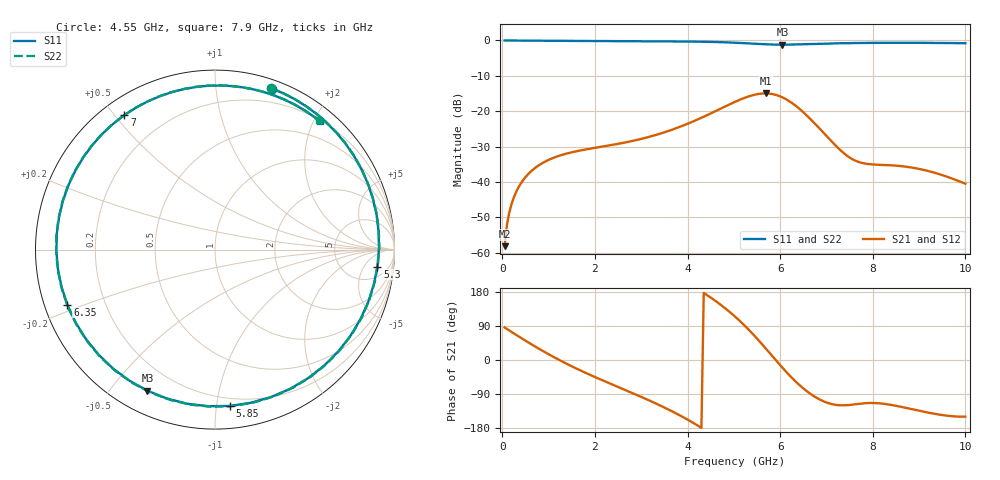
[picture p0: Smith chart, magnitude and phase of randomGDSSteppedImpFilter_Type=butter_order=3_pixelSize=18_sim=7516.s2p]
! freq	dB(S11)	phase(S11)	dB(S12)	phase(S12)
!  dB(S21)	phase(S21)	dB(S22)	phase(S22)
!S-par simulation data
#  GHz  S  DB  R 50
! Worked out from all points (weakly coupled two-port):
!   200 points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, 50 MHz to 10 GHz, reference 50 ohm
!   highest |S21| = -14.98 dB at 5.7 GHz (marker M1); lowest = -58.2 dB at 50 MHz (marker M2)
!   lowest |S11| = -1.2 dB at 6.05 GHz (marker M3), VSWR 14.61, Z = 4.77 - j31.3 ohm
!   |S11| at or under -10 dB: nowhere
!   |S22| runs from -1.2 to 0.0 dB; largest |S21 - S12| = 0
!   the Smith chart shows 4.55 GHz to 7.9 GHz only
!   S11 on the Smith chart (normalised r, x): 4.55 GHz: 0.07, +1.41; 5.3 GHz: 10, -11; 5.85 GHz: 0.15, -1.09; 6.35 GHz: 0.07, -0.18; 7 GHz: 0.07, +0.53; 7.9 GHz: 0.21, +2.09
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0.05  -0.00 -4.0  -58.16 85.9  -58.16 85.9  -0.00 -4.0
0.2  -0.02 -15.8  -46.23 74.0  -46.23 74.0  -0.02 -15.8
0.5  -0.06 -38.9  -38.66 51.0  -38.66 51.0  -0.06 -38.9
1.1  -0.10 -82.0  -33.20 8.5  -33.20 8.5  -0.10 -82.0
1.75  -0.13 -123.0  -30.94 -31.1  -30.94 -31.1  -0.14 -122.9
2.6  -0.17 -170.2  -28.99 -76.3  -28.99 -76.3  -0.17 -170.2
3.4  -0.22 146.4  -26.39 -119.5  -26.39 -119.5  -0.22 146.6
4.05  -0.30 107.1  -23.29 -160.7  -23.29 -160.7  -0.30 107.4
4.55  -0.43 70.5  -20.33 160.6  -20.33 160.6  -0.42 70.9
5.05  -0.65 23.3  -17.21 111.9  -17.21 111.9  -0.64 24.0
5.3  -0.82 -6.0  -15.90 82.6  -15.90 82.6  -0.80 -5.1
5.7  -1.10 -61.7  -14.98 28.9  -14.98 28.9  -1.07 -60.5
5.85  -1.16 -84.7  -15.21 7.6  -15.21 7.6  -1.14 -83.4
6.05  -1.19 -115.6  -16.10 -20.4  -16.10 -20.4  -1.17 -114.2
6.35  -1.13 -159.6  -18.61 -58.6  -18.61 -58.6  -1.12 -158.3
6.7  -0.99 156.0  -22.83 -93.2  -22.83 -93.2  -0.98 157.0
7  -0.88 124.0  -27.00 -112.1  -27.00 -112.1  -0.88 124.8
7.4  -0.77 88.1  -32.14 -119.5  -32.14 -119.5  -0.77 88.6
7.9  -0.69 50.8  -34.94 -113.5  -34.94 -113.5  -0.69 51.2
8.35  -0.66 22.2  -35.27 -117.6  -35.27 -117.6  -0.66 22.5
9.05  -0.67 -15.5  -36.45 -135.1  -36.45 -135.1  -0.67 -15.3
10  -0.79 -57.3  -40.49 -149.4  -40.49 -149.4  -0.79 -57.2
